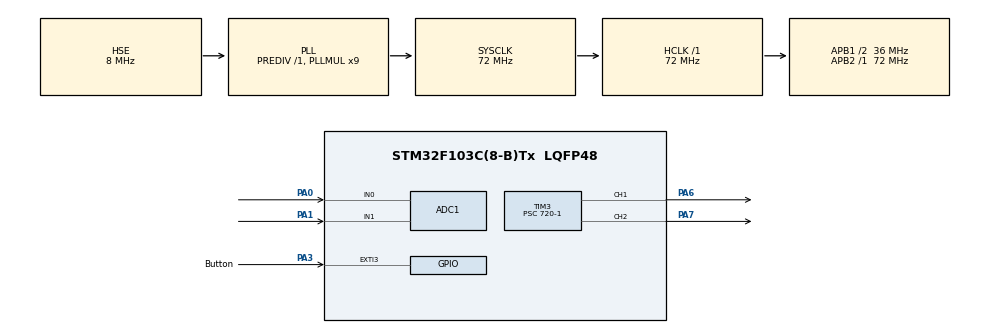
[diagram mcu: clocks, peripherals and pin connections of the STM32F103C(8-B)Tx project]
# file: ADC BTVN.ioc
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ADC1.Channel-0\#ChannelRegularConversion=ADC_CHANNEL_0
ADC1.Channel-1\#ChannelRegularConversion=ADC_CHANNEL_1
ADC1.ContinuousConvMode=ENABLE
ADC1.NbrOfConversion=2
ADC1.NbrOfConversionFlag=1
ADC1.Rank-0\#ChannelRegularConversion=1
ADC1.Rank-1\#ChannelRegularConversion=2
ADC1.SamplingTime-0\#ChannelRegularConversion=ADC_SAMPLETIME_239CYCLES_5
ADC1.SamplingTime-1\#ChannelRegularConversion=ADC_SAMPLETIME_239CYCLES_5
ADC1.master=1
Dma.ADC1.0.Direction=DMA_PERIPH_TO_MEMORY
Dma.ADC1.0.Instance=DMA1_Channel1
Dma.ADC1.0.MemDataAlignment=DMA_MDATAALIGN_HALFWORD
Dma.ADC1.0.MemInc=DMA_MINC_ENABLE
Dma.ADC1.0.Mode=DMA_CIRCULAR
Dma.ADC1.0.PeriphDataAlignment=DMA_PDATAALIGN_HALFWORD
Dma.ADC1.0.PeriphInc=DMA_PINC_DISABLE
Dma.ADC1.0.Priority=DMA_PRIORITY_LOW
Dma.Request0=ADC1
Mcu.Family=STM32F1
Mcu.Name=STM32F103C(8-B)Tx
Mcu.Package=LQFP48
NVIC.ADC1_2_IRQn=true\:0\:0\:false\:false\:true\:true\:true\:true
NVIC.DMA1_Channel1_IRQn=true\:0\:0\:true\:false\:true\:false\:true\:true
NVIC.EXTI3_IRQn=true\:1\:0\:true\:false\:true\:true\:true\:true
NVIC.PriorityGroup=NVIC_PRIORITYGROUP_4
PA0-WKUP.Signal=ADCx_IN0
PA1.Signal=ADCx_IN1
PA13.Mode=Serial_Wire
PA13.Signal=SYS_JTMS-SWDIO
PA14.Mode=Serial_Wire
PA14.Signal=SYS_JTCK-SWCLK
PA3.GPIO_Label=Button
PA3.GPIO_ModeDefaultEXTI=GPIO_MODE_IT_FALLING
PA3.GPIO_PuPd=GPIO_PULLUP
PA3.Signal=GPXTI3
PA6.Signal=S_TIM3_CH1
PA7.Signal=S_TIM3_CH2
PD0-OSC_IN.Mode=HSE-External-Oscillator
PD0-OSC_IN.Signal=RCC_OSC_IN
PD1-OSC_OUT.Mode=HSE-External-Oscillator
PD1-OSC_OUT.Signal=RCC_OSC_OUT
ProjectManager.HeapSize=0x200
ProjectManager.StackSize=0x400
ProjectManager.TargetToolchain=MDK-ARM V5
RCC.ADCPresc=RCC_ADCPCLK2_DIV6
RCC.AHBFreq_Value=72000000
RCC.APB1CLKDivider=RCC_HCLK_DIV2
RCC.APB1Freq_Value=36000000
RCC.APB1TimFreq_Value=72000000
RCC.APB2Freq_Value=72000000
RCC.APB2TimFreq_Value=72000000
RCC.HCLKFreq_Value=72000000
RCC.PLLMUL=RCC_PLL_MUL9
RCC.PLLSourceVirtual=RCC_PLLSOURCE_HSE
RCC.SYSCLKFreq_VALUE=72000000
RCC.SYSCLKSource=RCC_SYSCLKSOURCE_PLLCLK
RCC.USBFreq_Value=72000000
SH.ADCx_IN0.0=ADC1_IN0,IN0
SH.ADCx_IN1.0=ADC1_IN1,IN1
SH.S_TIM3_CH1.0=TIM3_CH1,PWM Generation1 CH1
SH.S_TIM3_CH2.0=TIM3_CH2,PWM Generation2 CH2
TIM3.Channel-PWM\ Generation1\ CH1=TIM_CHANNEL_1
TIM3.Channel-PWM\ Generation2\ CH2=TIM_CHANNEL_2
TIM3.Period=2000
TIM3.Prescaler=720-1
board=custom

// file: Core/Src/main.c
/* USER CODE BEGIN Header */
/**
  ******************************************************************************
  * @file           : main.c
  * @brief          : Main program body
  ******************************************************************************
  * @attention
  *
  * Copyright (c) 2023 STMicroelectronics.
  * All rights reserved.
  *
  * This software is licensed under terms that can be found in the LICENSE file
  * in the root directory of this software component.
  * If no LICENSE file comes with this software, it is provided AS-IS.
  *
  ******************************************************************************
  */
/* USER CODE END Header */
#include "main.h"
#include "stdio.h"

/* USER CODE BEGIN PTD */
typedef struct{
	float _err_measure;
	float _err_estimate;
  float _q;
  float _current_estimate;
  float _last_estimate;
  float _kalman_gain;
}SimpleKalmanFilter;

void SimpleKalmanFilter_init(SimpleKalmanFilter* klm,float mea_e, float est_e, float q,float last_estm);
float updateEstimate(SimpleKalmanFilter* klm,float mea);
void setMeasurementError(SimpleKalmanFilter* klm,float mea_e);
void setEstimateError(SimpleKalmanFilter* klm,float est_e);
void setProcessNoise(SimpleKalmanFilter* klm,float q);
float getKalmanGain(SimpleKalmanFilter* klm);
float getEstimateError(SimpleKalmanFilter* klm);

/* USER CODE END PTD */

ADC_HandleTypeDef hadc1;
DMA_HandleTypeDef hdma_adc1;

TIM_HandleTypeDef htim3;

/* USER CODE BEGIN PV */
/* USER CODE BEGIN Header */
/**
  ******************************************************************************
  * @file           : main.c
  * @brief          : Main program body
  ******************************************************************************
  * @attention
  *
  * Copyright (c) 2023 STMicroelectronics.
  * All rights reserved.
  *
  * This software is licensed under terms that can be found in the LICENSE file
  * in the root directory of this software component.
  * If no LICENSE file comes with this software, it is provided AS-IS.
  *
  ******************************************************************************
  */
/* USER CODE END Header */
/* Includes ------------------------------------------------------------------*/
#include "main.h"

/* Private includes ----------------------------------------------------------*/
/* USER CODE BEGIN Includes */

/* USER CODE END Includes */

/* Private typedef -----------------------------------------------------------*/
/* USER CODE BEGIN PTD */

/* USER CODE END PTD */

/* Private define ------------------------------------------------------------*/
/* USER CODE BEGIN PD */
/* USER CODE END PD */

/* Private macro -------------------------------------------------------------*/
/* USER CODE BEGIN PM */

/* USER CODE END PM */

/* Private variables ---------------------------------------------------------*/
TIM_HandleTypeDef htim2;
SimpleKalmanFilter klm_filter_1,klm_filter_2;
/* USER CODE BEGIN PV */

/* USER CODE END PV */

void SystemClock_Config(void);
static void MX_GPIO_Init(void);
static void MX_DMA_Init(void);
static void MX_ADC1_Init(void);
static void MX_TIM3_Init(void);
/* USER CODE BEGIN PFP */
#define ADC_VALUE_MAX 4096
#define ADC_VALUE_MIN 0
#define LED_VALUE_MAX 2000
#define LED_VALUE_MIN 0
#define SERVO_VALUE_MAX 200
#define SERVO_VALUE_MIN 100

uint16_t adc_value[2];
uint8_t mode = 0;
uint16_t value;
uint16_t Duty_Led = 0;
uint16_t Duty_Servo =0;
uint16_t Kalman_ADC[2];
//float K_Gain = 0;
//float pnn = 0;

long map(long x, long in_min, long in_max, long out_min, long out_max) {
  return (x - in_min) * (out_max - out_min) / (in_max - in_min) + out_min;
}

/*control PWM for led and servo*/
void ControlPWM(uint16_t Duty_Led, uint16_t Duty_Servo)
{
	__HAL_TIM_SET_COMPARE(&htim3,TIM_CHANNEL_1,Duty_Led);
	__HAL_TIM_SET_COMPARE(&htim3,TIM_CHANNEL_2,Duty_Servo);
}

/*Brief of function ControlOutput:
	- default mode: Led off and servo's angle = -90.
	- mode = 1: Enable device 1 to control led's brightness.
	- mode = 2: Enable device 2 to control servo's angle.
	- mode = 3: reverse the function of 2 devices (device 1 -> control servo's angle, device 2 -> control led's brightness).
	- mode = 4: Return to default mode.
*/
void ControlOutput(void)
{
	Kalman_ADC[0] = updateEstimate(&klm_filter_1,  adc_value[0]);
	Kalman_ADC[1] = updateEstimate(&klm_filter_2, adc_value[1]);
//	K_Gain = getKalmanGain(&klm);
//	pnn = getEstimateError(&klm);
	switch (mode) {
		case 1:
			Duty_Led = map(Kalman_ADC[0],ADC_VALUE_MIN,ADC_VALUE_MAX,LED_VALUE_MIN,LED_VALUE_MAX);
			break;
		case 2:
			Duty_Servo = map(Kalman_ADC[1],ADC_VALUE_MIN,ADC_VALUE_MAX,SERVO_VALUE_MIN,SERVO_VALUE_MAX);
			break;
		case 3:
			Duty_Servo = map(Kalman_ADC[0],ADC_VALUE_MIN,ADC_VALUE_MAX,SERVO_VALUE_MIN,SERVO_VALUE_MAX);
			Duty_Led = map(Kalman_ADC[1],ADC_VALUE_MIN,ADC_VALUE_MAX,LED_VALUE_MIN,LED_VALUE_MAX);
			break;
		default:
			//them code
			Duty_Led = 0;
			Duty_Servo = 100;
	}
	ControlPWM(Duty_Led,Duty_Servo);
}

/*Button Interrupt: detect falling edge*/
void HAL_GPIO_EXTI_Callback(uint16_t GPIO_Pin)
{
  HAL_Delay(50);
	if (HAL_GPIO_ReadPin(GPIOA,Button_Pin) == 0){
		mode++;
	}
	if (mode>=4){
		mode = 0;
	}
}

void HAL_ADC_ConvCpltCallback(ADC_HandleTypeDef* hadc)
{
  ControlOutput();
}
/* USER CODE END PV */

/* Private function prototypes -----------------------------------------------*/
void SystemClock_Config(void);
static void MX_GPIO_Init(void);
static void MX_DMA_Init(void);
static void MX_ADC1_Init(void);
static void MX_TIM3_Init(void);
/* USER CODE BEGIN PFP */

/* USER CODE END PFP */

int main(void)
{

  /* MCU Configuration--------------------------------------------------------*/

  /* Reset of all peripherals, Initializes the Flash interface and the Systick. */
  HAL_Init();

  /* Configure the system clock */
  SystemClock_Config();

  /* Initialize all configured peripherals */
  MX_GPIO_Init();
  MX_DMA_Init();
  MX_ADC1_Init();
  MX_TIM3_Init();
	SimpleKalmanFilter_init(&klm_filter_1,1,10000,0.001,1000);
	SimpleKalmanFilter_init(&klm_filter_2,10,10000,0.001,1000);
  /* USER CODE BEGIN 2 */
	HAL_TIM_PWM_Start(&htim3,TIM_CHANNEL_1);
	HAL_TIM_PWM_Start(&htim3,TIM_CHANNEL_2);
	HAL_ADC_Start_DMA(&hadc1,(uint32_t*)adc_value,2);
  /* USER CODE END 2 */

  /* Infinite loop */
  while (1)
  {

  }
}

void SystemClock_Config(void)
{
  RCC_OscInitTypeDef RCC_OscInitStruct = {0};
  RCC_ClkInitTypeDef RCC_ClkInitStruct = {0};
  RCC_PeriphCLKInitTypeDef PeriphClkInit = {0};

  /** Initializes the RCC Oscillators according to the specified parameters
  * in the RCC_OscInitTypeDef structure.
  */
  RCC_OscInitStruct.OscillatorType = RCC_OSCILLATORTYPE_HSE;
  RCC_OscInitStruct.HSEState = RCC_HSE_ON;
  RCC_OscInitStruct.HSEPredivValue = RCC_HSE_PREDIV_DIV1;
  RCC_OscInitStruct.HSIState = RCC_HSI_ON;
  RCC_OscInitStruct.PLL.PLLState = RCC_PLL_ON;
  RCC_OscInitStruct.PLL.PLLSource = RCC_PLLSOURCE_HSE;
  RCC_OscInitStruct.PLL.PLLMUL = RCC_PLL_MUL9;
  if (HAL_RCC_OscConfig(&RCC_OscInitStruct) != HAL_OK)
  {
    Error_Handler();
  }

  /** Initializes the CPU, AHB and APB buses clocks
  */
  RCC_ClkInitStruct.ClockType = RCC_CLOCKTYPE_HCLK|RCC_CLOCKTYPE_SYSCLK
                              |RCC_CLOCKTYPE_PCLK1|RCC_CLOCKTYPE_PCLK2;
  RCC_ClkInitStruct.SYSCLKSource = RCC_SYSCLKSOURCE_PLLCLK;
  RCC_ClkInitStruct.AHBCLKDivider = RCC_SYSCLK_DIV1;
  RCC_ClkInitStruct.APB1CLKDivider = RCC_HCLK_DIV2;
  RCC_ClkInitStruct.APB2CLKDivider = RCC_HCLK_DIV1;

  if (HAL_RCC_ClockConfig(&RCC_ClkInitStruct, FLASH_LATENCY_2) != HAL_OK)
  {
    Error_Handler();
  }
  PeriphClkInit.PeriphClockSelection = RCC_PERIPHCLK_ADC;
  PeriphClkInit.AdcClockSelection = RCC_ADCPCLK2_DIV6;
  if (HAL_RCCEx_PeriphCLKConfig(&PeriphClkInit) != HAL_OK)
  {
    Error_Handler();
  }
}

static void MX_ADC1_Init(void)
{

  ADC_ChannelConfTypeDef sConfig = {0};

  /** Common config
  */
  hadc1.Instance = ADC1;
  hadc1.Init.ScanConvMode = ADC_SCAN_ENABLE;
  hadc1.Init.ContinuousConvMode = ENABLE;
  hadc1.Init.DiscontinuousConvMode = DISABLE;
  hadc1.Init.ExternalTrigConv = ADC_SOFTWARE_START;
  hadc1.Init.DataAlign = ADC_DATAALIGN_RIGHT;
  hadc1.Init.NbrOfConversion = 2;
  if (HAL_ADC_Init(&hadc1) != HAL_OK)
  {
    Error_Handler();
  }

  /** Configure Regular Channel
  */
  sConfig.Channel = ADC_CHANNEL_0;
  sConfig.Rank = ADC_REGULAR_RANK_1;
  sConfig.SamplingTime = ADC_SAMPLETIME_239CYCLES_5;
  if (HAL_ADC_ConfigChannel(&hadc1, &sConfig) != HAL_OK)
  {
    Error_Handler();
  }

  /** Configure Regular Channel
  */
  sConfig.Channel = ADC_CHANNEL_1;
  sConfig.Rank = ADC_REGULAR_RANK_2;
  if (HAL_ADC_ConfigChannel(&hadc1, &sConfig) != HAL_OK)
  {
    Error_Handler();
  }

}

static void MX_TIM3_Init(void)
{

  TIM_MasterConfigTypeDef sMasterConfig = {0};
  TIM_OC_InitTypeDef sConfigOC = {0};

  htim3.Instance = TIM3;
  htim3.Init.Prescaler = 720-1;
  htim3.Init.CounterMode = TIM_COUNTERMODE_UP;
  htim3.Init.Period = 2000;
  htim3.Init.ClockDivision = TIM_CLOCKDIVISION_DIV1;
  htim3.Init.AutoReloadPreload = TIM_AUTORELOAD_PRELOAD_DISABLE;
  if (HAL_TIM_PWM_Init(&htim3) != HAL_OK)
  {
    Error_Handler();
  }
  sMasterConfig.MasterOutputTrigger = TIM_TRGO_RESET;
  sMasterConfig.MasterSlaveMode = TIM_MASTERSLAVEMODE_DISABLE;
  if (HAL_TIMEx_MasterConfigSynchronization(&htim3, &sMasterConfig) != HAL_OK)
  {
    Error_Handler();
  }
  sConfigOC.OCMode = TIM_OCMODE_PWM1;
  sConfigOC.Pulse = 0;
  sConfigOC.OCPolarity = TIM_OCPOLARITY_HIGH;
  sConfigOC.OCFastMode = TIM_OCFAST_DISABLE;
  if (HAL_TIM_PWM_ConfigChannel(&htim3, &sConfigOC, TIM_CHANNEL_1) != HAL_OK)
  {
    Error_Handler();
  }
  if (HAL_TIM_PWM_ConfigChannel(&htim3, &sConfigOC, TIM_CHANNEL_2) != HAL_OK)
  {
    Error_Handler();
  }
  HAL_TIM_MspPostInit(&htim3);

}

static void MX_DMA_Init(void)
{

  /* DMA controller clock enable */
  __HAL_RCC_DMA1_CLK_ENABLE();

  /* DMA interrupt init */
  /* DMA1_Channel1_IRQn interrupt configuration */
  HAL_NVIC_SetPriority(DMA1_Channel1_IRQn, 0, 0);
  HAL_NVIC_EnableIRQ(DMA1_Channel1_IRQn);

}

static void MX_GPIO_Init(void)
{
  GPIO_InitTypeDef GPIO_InitStruct = {0};

  /* GPIO Ports Clock Enable */
  __HAL_RCC_GPIOD_CLK_ENABLE();
  __HAL_RCC_GPIOA_CLK_ENABLE();

  /*Configure GPIO pin : PA3 */
  GPIO_InitStruct.Pin = GPIO_PIN_3;
  GPIO_InitStruct.Mode = GPIO_MODE_IT_FALLING;
  GPIO_InitStruct.Pull = GPIO_PULLUP;
  HAL_GPIO_Init(GPIOA, &GPIO_InitStruct);

  /* EXTI interrupt init*/
  HAL_NVIC_SetPriority(EXTI3_IRQn, 1, 0);
  HAL_NVIC_EnableIRQ(EXTI3_IRQn);

}

/* USER CODE BEGIN 4 */
void SimpleKalmanFilter_init(SimpleKalmanFilter* klm,float mea_e, float est_e, float q,float last_estm)
{
  klm->_err_measure=mea_e;
  klm->_err_estimate=est_e;
  klm->_q = q;
	klm->_current_estimate = 0;
	klm->_last_estimate = last_estm;
	klm->_kalman_gain = 0;
}

float updateEstimate(SimpleKalmanFilter* klm,float mea)
{
  klm->_kalman_gain = klm->_err_estimate/(klm->_err_estimate + klm->_err_measure);
  klm->_current_estimate =klm->_last_estimate + klm->_kalman_gain * (mea - klm->_last_estimate);
  //klm->_err_estimate =  (1.0f - klm->_kalman_gain)*klm->_err_estimate + fabsf(klm->_last_estimate-klm->_current_estimate)*klm->_q;
  klm->_err_estimate =  (1.0f - klm->_kalman_gain)*klm->_err_estimate + klm->_q;
  klm->_last_estimate = klm->_current_estimate;
  return klm->_current_estimate;
}

void setMeasurementError(SimpleKalmanFilter* klm, float mea_e)
{
  klm->_err_measure=mea_e;
}

void setEstimateError(SimpleKalmanFilter* klm, float est_e)
{
  klm->_err_estimate=est_e;
}

void setProcessNoise(SimpleKalmanFilter* klm, float q)
{
  klm->_q=q;
}

float getKalmanGain(SimpleKalmanFilter* klm) {
  return klm->_kalman_gain;
}

float getEstimateError(SimpleKalmanFilter* klm) {
  return klm->_err_estimate;
}
/* USER CODE END 4 */

void Error_Handler(void)
{
  __disable_irq();
  while (1)
  {
  }
}
